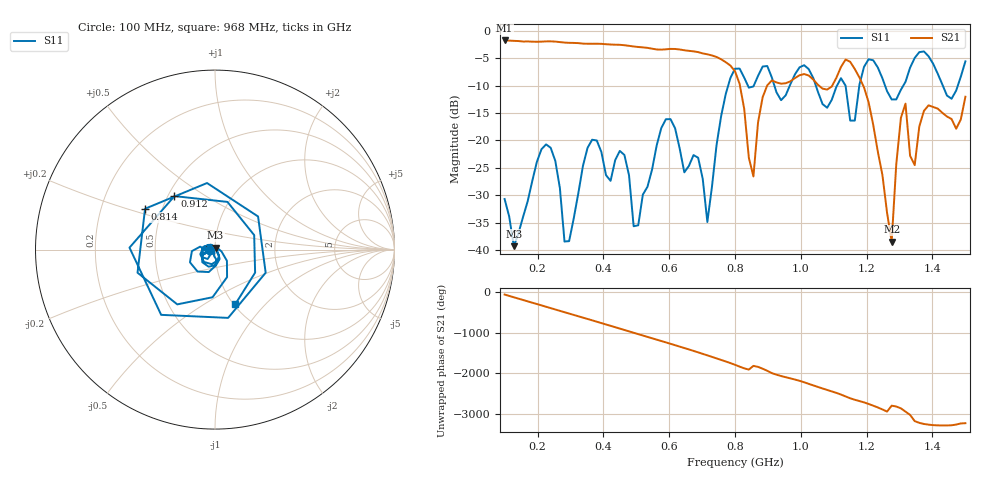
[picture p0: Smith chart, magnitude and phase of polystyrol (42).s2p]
! NanoVNA-App
! Date: 2025-09-26 09:42:12
! Start: 100MHz Stop: 1,5GHz Points: 101
! S-Parameter data: F S11 S21 S12 S22
# Hz S RI R 50
!  Frequency  S11_Real  S11_Imag  S21_Real  S21_Imag  S12_Real  S12_Imag  S22_Real  S22_Imag
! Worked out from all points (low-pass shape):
!   101 points, 100 MHz to 1.5 GHz, reference 50 ohm
!   highest |S21| = -1.79 dB at 100 MHz (marker M1); lowest = -38.4 dB at 1.276 GHz (marker M2)
!   |S21| within 3 dB of the highest: start of sweep to 743.4 MHz
!   lowest |S11| = -39.2 dB at 128 MHz (marker M3), VSWR 1.02, Z = 50.3 + j1.06 ohm
!   |S11| at or under -10 dB: start of sweep to 779.3 MHz; 1.046 GHz to 1.11 GHz (64.44 MHz wide, 5.98 % of centre); 1.256 GHz to 1.311 GHz (55.64 MHz wide, 4.33 % of centre)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
!   S12 and S22 are empty: the file has one direction only
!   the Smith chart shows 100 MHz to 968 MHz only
!   S11 on the Smith chart (normalised r, x): 100 MHz: 0.94, -0.01; 814 MHz: 0.40, +0.23; 912 MHz: 0.54, +0.37; 968 MHz: 1.02, -0.69
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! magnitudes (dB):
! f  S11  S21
! 100 MHz  -30.7  -1.8
! 128 MHz  -39.2  -1.9
! 212 MHz  -21.6  -2.0
! 254 MHz  -23.7  -2.0
! 282 MHz  -38.4  -2.2
! 338 MHz  -24.6  -2.4
! 464 MHz  -22.6  -2.7
! 506 MHz  -35.4  -3.0
! 576 MHz  -17.7  -3.5
! 688 MHz  -23.1  -3.9
! 716 MHz  -34.8  -4.3
! 800 MHz  -6.9  -7.4
! 814 MHz  -6.9  -9.7
! 856 MHz  -10.2  -26.5
! 912 MHz  -8.5  -9.1
! 968 MHz  -9.8  -9.2
! 1.038 GHz  -8.7  -8.9
! 1.178 GHz  -9.9  -8.5
! 1.276 GHz  -12.5  -38.4
! 1.318 GHz  -9.3  -13.3
! 1.346 GHz  -5.0  -24.5
! 1.5 GHz  -5.6  -12.0
